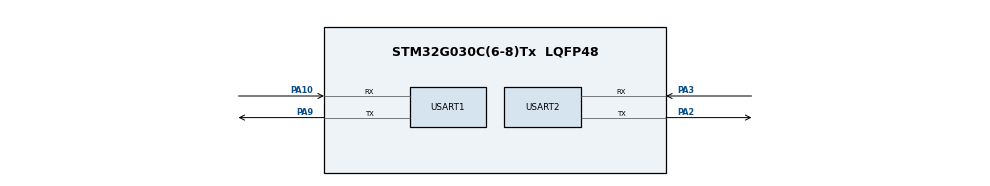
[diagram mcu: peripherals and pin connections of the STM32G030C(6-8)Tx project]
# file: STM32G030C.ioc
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Dma.Request0=USART1_RX
Dma.Request1=USART1_TX
Dma.Request2=USART2_RX
Dma.Request3=USART2_TX
Dma.USART1_RX.0.Direction=DMA_PERIPH_TO_MEMORY
Dma.USART1_RX.0.EventEnable=DISABLE
Dma.USART1_RX.0.Instance=DMA1_Channel1
Dma.USART1_RX.0.MemDataAlignment=DMA_MDATAALIGN_BYTE
Dma.USART1_RX.0.MemInc=DMA_MINC_ENABLE
Dma.USART1_RX.0.Mode=DMA_CIRCULAR
Dma.USART1_RX.0.PeriphDataAlignment=DMA_PDATAALIGN_BYTE
Dma.USART1_RX.0.PeriphInc=DMA_PINC_DISABLE
Dma.USART1_RX.0.Polarity=HAL_DMAMUX_REQ_GEN_RISING
Dma.USART1_RX.0.Priority=DMA_PRIORITY_LOW
Dma.USART1_RX.0.RequestNumber=1
Dma.USART1_RX.0.SignalID=NONE
Dma.USART1_RX.0.SyncEnable=DISABLE
Dma.USART1_RX.0.SyncPolarity=HAL_DMAMUX_SYNC_NO_EVENT
Dma.USART1_RX.0.SyncRequestNumber=1
Dma.USART1_RX.0.SyncSignalID=NONE
Dma.USART1_TX.1.Direction=DMA_MEMORY_TO_PERIPH
Dma.USART1_TX.1.EventEnable=DISABLE
Dma.USART1_TX.1.Instance=DMA1_Channel2
Dma.USART1_TX.1.MemDataAlignment=DMA_MDATAALIGN_BYTE
Dma.USART1_TX.1.MemInc=DMA_MINC_ENABLE
Dma.USART1_TX.1.Mode=DMA_NORMAL
Dma.USART1_TX.1.PeriphDataAlignment=DMA_PDATAALIGN_BYTE
Dma.USART1_TX.1.PeriphInc=DMA_PINC_DISABLE
Dma.USART1_TX.1.Polarity=HAL_DMAMUX_REQ_GEN_RISING
Dma.USART1_TX.1.Priority=DMA_PRIORITY_LOW
Dma.USART1_TX.1.RequestNumber=1
Dma.USART1_TX.1.SignalID=NONE
Dma.USART1_TX.1.SyncEnable=DISABLE
Dma.USART1_TX.1.SyncPolarity=HAL_DMAMUX_SYNC_NO_EVENT
Dma.USART1_TX.1.SyncRequestNumber=1
Dma.USART1_TX.1.SyncSignalID=NONE
Dma.USART2_RX.2.Direction=DMA_PERIPH_TO_MEMORY
Dma.USART2_RX.2.EventEnable=DISABLE
Dma.USART2_RX.2.Instance=DMA1_Channel3
Dma.USART2_RX.2.MemDataAlignment=DMA_MDATAALIGN_BYTE
Dma.USART2_RX.2.MemInc=DMA_MINC_ENABLE
Dma.USART2_RX.2.Mode=DMA_CIRCULAR
Dma.USART2_RX.2.PeriphDataAlignment=DMA_PDATAALIGN_BYTE
Dma.USART2_RX.2.PeriphInc=DMA_PINC_DISABLE
Dma.USART2_RX.2.Polarity=HAL_DMAMUX_REQ_GEN_RISING
Dma.USART2_RX.2.Priority=DMA_PRIORITY_LOW
Dma.USART2_RX.2.RequestNumber=1
Dma.USART2_RX.2.SignalID=NONE
Dma.USART2_RX.2.SyncEnable=DISABLE
Dma.USART2_RX.2.SyncPolarity=HAL_DMAMUX_SYNC_NO_EVENT
Dma.USART2_RX.2.SyncRequestNumber=1
Dma.USART2_RX.2.SyncSignalID=NONE
Dma.USART2_TX.3.Direction=DMA_MEMORY_TO_PERIPH
Dma.USART2_TX.3.EventEnable=DISABLE
Dma.USART2_TX.3.Instance=DMA1_Channel4
Dma.USART2_TX.3.MemDataAlignment=DMA_MDATAALIGN_BYTE
Dma.USART2_TX.3.MemInc=DMA_MINC_ENABLE
Dma.USART2_TX.3.Mode=DMA_NORMAL
Dma.USART2_TX.3.PeriphDataAlignment=DMA_PDATAALIGN_BYTE
Dma.USART2_TX.3.PeriphInc=DMA_PINC_DISABLE
Dma.USART2_TX.3.Polarity=HAL_DMAMUX_REQ_GEN_RISING
Dma.USART2_TX.3.Priority=DMA_PRIORITY_LOW
Dma.USART2_TX.3.RequestNumber=1
Dma.USART2_TX.3.SignalID=NONE
Dma.USART2_TX.3.SyncEnable=DISABLE
Dma.USART2_TX.3.SyncPolarity=HAL_DMAMUX_SYNC_NO_EVENT
Dma.USART2_TX.3.SyncRequestNumber=1
Dma.USART2_TX.3.SyncSignalID=NONE
Mcu.Family=STM32G0
Mcu.Name=STM32G030C(6-8)Tx
Mcu.Package=LQFP48
NVIC.DMA1_Ch4_5_DMAMUX1_OVR_IRQn=true\:0\:0\:false\:false\:true\:false\:true
NVIC.DMA1_Channel1_IRQn=true\:0\:0\:false\:false\:true\:false\:true
NVIC.DMA1_Channel2_3_IRQn=true\:0\:0\:false\:false\:true\:false\:true
NVIC.RCC_IRQn=true\:0\:0\:false\:false\:true\:true\:false
NVIC.USART1_IRQn=true\:0\:0\:false\:false\:true\:true\:true
NVIC.USART2_IRQn=true\:0\:0\:false\:false\:true\:true\:true
PA10.Mode=Asynchronous
PA10.Signal=USART1_RX
PA13.Mode=Serial_Wire
PA13.Signal=SYS_SWDIO
PA14-BOOT0.Mode=Serial_Wire
PA14-BOOT0.Signal=SYS_SWCLK
PA2.Mode=Asynchronous
PA2.Signal=USART2_TX
PA3.Mode=Asynchronous
PA3.Signal=USART2_RX
PA9.Mode=Asynchronous
PA9.Signal=USART1_TX
PF0-OSC_IN\ (PF0).Mode=HSE-External-Clock-Source
PF0-OSC_IN\ (PF0).Signal=RCC_OSC_IN
ProjectManager.HeapSize=0x200
ProjectManager.StackSize=0x400
ProjectManager.TargetToolchain=MDK-ARM V5.27
RCC.ADCFreq_Value=64000000
RCC.AHBFreq_Value=64000000
RCC.CortexFreq_Value=64000000
RCC.EXTERNAL_CLOCK_VALUE=12288000
RCC.HCLKFreq_Value=64000000
RCC.HSE_VALUE=8000000
RCC.HSI_VALUE=16000000
RCC.LSE_VALUE=32768
RCC.PLLN=16
RCC.PLLSourceVirtual=RCC_PLLSOURCE_HSE
RCC.SYSCLKFreq_VALUE=64000000
RCC.SYSCLKSource=RCC_SYSCLKSOURCE_PLLCLK
RCC.VCOOutputFreq_Value=128000000
USART1.VirtualMode-Asynchronous=VM_ASYNC
USART2.VirtualMode-Asynchronous=VM_ASYNC
board=custom

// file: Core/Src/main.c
/* USER CODE BEGIN Header */
/**
  ******************************************************************************
  * @file           : main.c
  * @brief          : Main program body
  ******************************************************************************
  * @attention
  *
  * <h2><center>&copy; Copyright (c) 2021 STMicroelectronics.
  * All rights reserved.</center></h2>
  *
  * This software component is licensed by ST under BSD 3-Clause license,
  * the "License"; You may not use this file except in compliance with the
  * License. You may obtain a copy of the License at:
  *                        opensource.org/licenses/BSD-3-Clause
  *
  ******************************************************************************
  */
/* USER CODE END Header */
#include "main.h"
#include "dma.h"
#include "usart.h"
#include "gpio.h"

/* USER CODE BEGIN Includes */
#include "init.h"
#include <stdio.h>
#include <stdlib.h>
#include <stdarg.h>
#include <string.h>
/* USER CODE END Includes */

/* USER CODE BEGIN PTD */
#ifdef __GNUC__
    #define PUTCHAR_PROTOTYPE int __io_putchar(int ch)
#else
    #define PUTCHAR_PROTOTYPE int fputc(int ch, FILE *f)
#endif /* __GNUC__ */

int fputc(int ch, FILE *f)
{
    LL_USART_TransmitData8(USART1, (uint8_t)ch);
    while (!LL_USART_IsActiveFlag_TXE(USART1)) {}
    return ch;
}
/* USER CODE END PTD */

void SystemClock_Config(void);

int main(void)
{

  /* MCU Configuration--------------------------------------------------------*/

  /* Reset of all peripherals, Initializes the Flash interface and the Systick. */

  LL_APB2_GRP1_EnableClock(LL_APB2_GRP1_PERIPH_SYSCFG);
  LL_APB1_GRP1_EnableClock(LL_APB1_GRP1_PERIPH_PWR);

  /* System interrupt init*/

  /* Peripheral interrupt init*/
  /* RCC_IRQn interrupt configuration */
  NVIC_SetPriority(RCC_IRQn, 0);
  NVIC_EnableIRQ(RCC_IRQn);

  /* Configure the system clock */
  SystemClock_Config();

  /* Initialize all configured peripherals */
  MX_GPIO_Init();
  MX_DMA_Init();
  MX_USART1_UART_Init();
  MX_USART2_UART_Init();
  /* USER CODE BEGIN 2 */
//  hal_init();
//  usart_send_string("USE DMA: HT & TC + USART IDLE interrupts\r\n");
  printf("debug: start\r\n");
  /* USER CODE END 2 */

  /* Infinite loop */
  while (1)
  {

    /* USER CODE BEGIN 3 */
    printf("test\r\n");
//    HAL_Delay(500);

  }
  /* USER CODE END 3 */
}

void SystemClock_Config(void)
{
  LL_FLASH_SetLatency(LL_FLASH_LATENCY_2);
  while(LL_FLASH_GetLatency() != LL_FLASH_LATENCY_2)
  {
  }

  /* HSE configuration and activation */
  LL_RCC_HSE_EnableBypass();
  LL_RCC_HSE_Enable();
  while(LL_RCC_HSE_IsReady() != 1)
  {
  }

  /* Main PLL configuration and activation */
  LL_RCC_PLL_ConfigDomain_SYS(LL_RCC_PLLSOURCE_HSE, LL_RCC_PLLM_DIV_1, 16, LL_RCC_PLLR_DIV_2);
  LL_RCC_PLL_Enable();
  LL_RCC_PLL_EnableDomain_SYS();
  while(LL_RCC_PLL_IsReady() != 1)
  {
  }

  /* Set AHB prescaler*/
  LL_RCC_SetAHBPrescaler(LL_RCC_SYSCLK_DIV_1);

  /* Sysclk activation on the main PLL */
  LL_RCC_SetSysClkSource(LL_RCC_SYS_CLKSOURCE_PLL);
  while(LL_RCC_GetSysClkSource() != LL_RCC_SYS_CLKSOURCE_STATUS_PLL)
  {
  }

  /* Set APB1 prescaler*/
  LL_RCC_SetAPB1Prescaler(LL_RCC_APB1_DIV_1);

  LL_Init1msTick(64000000);

  /* Update CMSIS variable (which can be updated also through SystemCoreClockUpdate function) */
  LL_SetSystemCoreClock(64000000);
  LL_RCC_SetUSARTClockSource(LL_RCC_USART1_CLKSOURCE_PCLK1);
}

void Error_Handler(void)
{
  __disable_irq();
  while (1)
  {
  }
}

/************************ (C) COPYRIGHT STMicroelectronics *****END OF FILE****/
